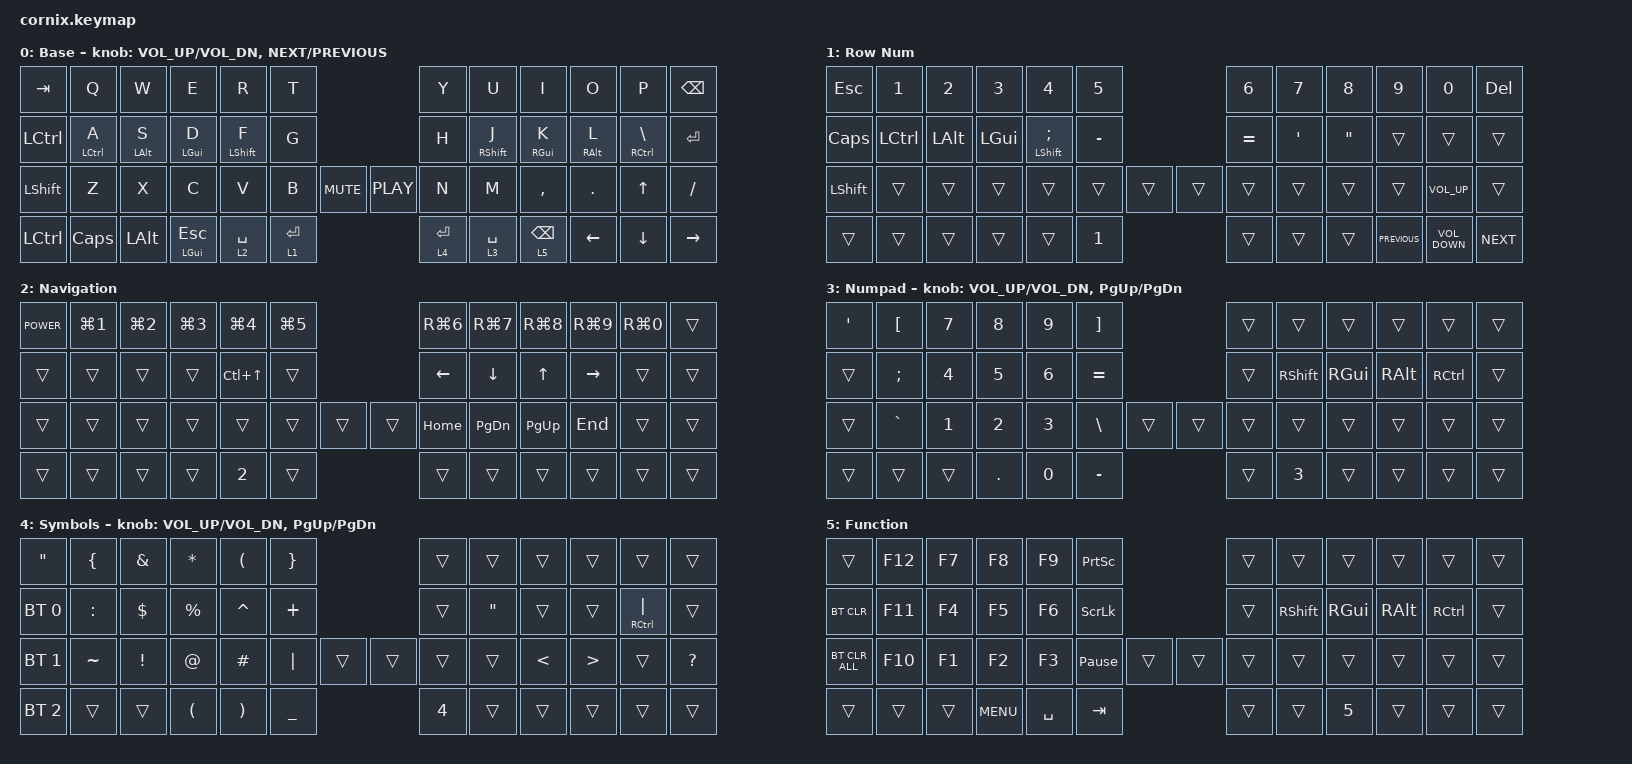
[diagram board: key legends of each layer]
/*
 * Copyright (c) 2020 The ZMK Contributors
 *
 * SPDX-License-Identifier: MIT
 */

#include "zmk-helpers/helper.h"
#include "includes/cornix54.h"

#define BASE 0
#define WIN 1
#define LOWER 2
#define RAISE 3
#define ADJUST 4
#define NAVI   5
#define NUM    6
#define DEBUG  7
#define ZMK_POINTING_DEFAULT_SCRL_VAL 15

#include <behaviors.dtsi>
#include <dt-bindings/zmk/bt.h>
#include <dt-bindings/zmk/keys.h>

/ {
    // Activate ADJUST layer by pressing raise and lower

    behaviors {
        hm: homerow_mods {
            compatible = "zmk,behavior-hold-tap";
            #binding-cells = <2>;
            tapping-term-ms = <200>;
            bindings = <&kp>, <&kp>;

            quick-tap-ms = <160>;
            flavor = "tap-preferred";
            require-prior-idle-ms = <150>;
        };

        lt: layer_tap {
            compatible = "zmk,behavior-hold-tap";
            #binding-cells = <2>;
            bindings = <&mo>, <&kp>;

            flavor = "hold-preferred";
            tapping-term-ms = <250>;
            quick-tap-ms = <200>;
        };

        right_space: right_space {
            compatible = "zmk,behavior-hold-tap";
            #binding-cells = <2>;
            bindings = <&mo>, <&kp>;

            flavor = "tap-preferred";
            tapping-term-ms = <200>;
            quick-tap-ms = <175>;
            label = "RIGHT_SPACE";
        };

        left_gui: left_gui {
            compatible = "zmk,behavior-hold-tap";
            #binding-cells = <2>;
            bindings = <&kp>, <&kp>;

            flavor = "hold-preferred";
            tapping-term-ms = <200>;
            quick-tap-ms = <200>;
            label = "LEFT_GUI";
            hold-trigger-on-release;
        };
    };

    conditional_layers { compatible = "zmk,conditional-layers"; };

    combos {
        compatible = "zmk,combos";

        leftpair {
            bindings = <&kp LEFT_PARENTHESIS>;
            key-positions = <3 4>;
            layers = <0>;
            require-prior-idle-ms = <250>;
            timeout-ms = <40>;
        };

        rightpair {
            bindings = <&kp RIGHT_PARENTHESIS>;
            key-positions = <7 8>;
            layers = <0>;
            require-prior-idle-ms = <250>;
            timeout-ms = <40>;
        };

        leftbracket {
            bindings = <&kp LEFT_BRACKET>;
            key-positions = <16 15>;
            layers = <0>;
            require-prior-idle-ms = <150>;
            timeout-ms = <40>;
        };

        rightbracket {
            bindings = <&kp RIGHT_BRACKET>;
            key-positions = <19 20>;
            layers = <0>;
            require-prior-idle-ms = <150>;
            timeout-ms = <40>;
        };

        leftbrace {
            bindings = <&kp LEFT_BRACE>;
            key-positions = <27 28>;
            layers = <0>;
            require-prior-idle-ms = <150>;
            timeout-ms = <40>;
        };

        rightbrace {
            bindings = <&kp RIGHT_BRACE>;
            key-positions = <33 34>;
            layers = <0>;
            require-prior-idle-ms = <150>;
            timeout-ms = <40>;
        };

        backslash {
            bindings = <&kp BACKSLASH>;
            key-positions = <5 6>;
            layers = <0>;
            require-prior-idle-ms = <150>;
            timeout-ms = <40>;
        };

        colon {
            bindings = <&kp COLON>;
            key-positions = <17 18>;
            layers = <0>;
            require-prior-idle-ms = <150>;
            timeout-ms = <40>;
        };

        slash {
            bindings = <&kp SLASH>;
            key-positions = <29 32>;
            layers = <0>;
            require-prior-idle-ms = <150>;
            timeout-ms = <40>;
        };

        doublequote {
            bindings = <&kp DOUBLE_QUOTES>;
            key-positions = <5 4>;
            layers = <0>;
            require-prior-idle-ms = <150>;
            timeout-ms = <40>;
        };

        quote {
            bindings = <&kp SQT>;
            key-positions = <6 7>;
            layers = <0>;
            require-prior-idle-ms = <150>;
            timeout-ms = <40>;
        };
    };

    keymap {
        compatible = "zmk,keymap";

        default_layer {
            display-name = "Base";

            // ------------------------------------------------------------------------------------------------------------
            // |   `   |  1  |  2  |  3   |  4   |  5   |                   |  6   |  7    |  8    |  9   |   0   |       |
            // |  ESC  |  Q  |  W  |  E   |  R   |  T   |                   |  Y   |  U    |  I    |  O   |   P   | BKSPC |
            // |  TAB  |  A  |  S  |  D   |  F   |  G   |                   |  H   |  J    |  K    |  L   |   ;   |   '   |
            // | SHIFT |  Z  |  X  |  C   |  V   |  B   |  MUTE  |  |       |  N   |  M    |  ,    |  .   |   /   | SHIFT |
            //               | GUI | ALT  | CTRL | LOWER|  ENTER |  | SPACE | RAISE| CTRL  | ALT   | GUI  |

            bindings = <
&kp TAB           &kp Q        &kp W         &kp E                      &kp R        &kp T                                &kp Y        &kp U                 &kp I            &kp O       &kp P                &kp BACKSPACE
&kp LEFT_CONTROL  &hm LCTRL A  &hm LALT S    &hm LGUI D                 &hm LSHFT F  &kp G                                &kp H        &hm RSHFT J           &hm RGUI K       &hm RALT L  &hm RCTRL BACKSLASH  &kp ENTER
&kp LEFT_SHIFT    &kp Z        &kp X         &kp C                      &kp V        &kp B        &kp C_MUTE  &kp C_PLAY  &kp N        &kp M                 &kp COMMA        &kp DOT     &kp UP_ARROW         &kp SLASH
&kp LEFT_CONTROL  &kp CAPS     &kp LEFT_ALT  &left_gui LEFT_GUI ESCAPE  &lt 2 SPACE  &lt 1 ENTER                          &lt 4 ENTER  &right_space 3 SPACE  &lt 5 BACKSPACE  &kp LEFT    &kp DOWN_ARROW       &kp RIGHT
            >;

            sensor-bindings =
                <&inc_dec_kp C_VOL_UP C_VOL_DN>,
                <&inc_dec_kp C_NEXT C_PREVIOUS>;
        };

        Row_Num_layer {
            display-name = "Row Num";
            bindings = <
&kp ESC         &kp NUMBER_1      &kp NUMBER_2  &kp NUMBER_3  &kp NUMBER_4              &kp N5                        &kp NUMBER_6  &kp N7   &kp N8             &kp N9          &kp N0             &kp DEL
&kp CAPS        &kp LEFT_CONTROL  &kp LEFT_ALT  &kp LEFT_GUI  &mt LEFT_SHIFT SEMICOLON  &kp MINUS                     &kp EQUAL     &kp SQT  &kp DOUBLE_QUOTES  &trans          &trans             &trans
&kp LEFT_SHIFT  &trans            &trans        &trans        &trans                    &trans        &trans  &trans  &trans        &trans   &trans             &trans          &kp C_VOLUME_UP    &trans
&trans          &trans            &trans        &trans        &trans                    &kp NUMBER_1                  &trans        &trans   &trans             &kp C_PREVIOUS  &kp C_VOLUME_DOWN  &kp C_NEXT
            >;
        };

        Navi_layer {
            display-name = "Navigation";
            bindings = <
&kp C_POWER  &kp LG(NUMBER_1)  &kp LG(NUMBER_2)  &kp LG(NUMBER_3)  &kp LG(NUMBER_4)  &kp LG(N5)                  &kp RG(NUMBER_6)  &kp RG(N7)     &kp RG(N8)   &kp RG(N9)  &kp RG(N0)  &trans
&trans       &trans            &trans            &trans            &kp LC(UP_ARROW)  &trans                      &kp LEFT          &kp DOWN       &kp UP       &kp RIGHT   &trans      &trans
&trans       &trans            &trans            &trans            &trans            &trans      &trans  &trans  &kp HOME          &kp PAGE_DOWN  &kp PAGE_UP  &kp END     &trans      &trans
&trans       &trans            &trans            &trans            &kp NUMBER_2      &trans                      &trans            &trans         &trans       &trans      &trans      &trans
            >;
        };

        Numpad_layer {
            display-name = "Numpad";

            // ------------------------------------------------------------------------------------------------------------
            // | BTCLR | BT1  | BT2  |  BT3  |  BT4  |  BT5 |                |      |      |       |      |       |       |
            // |       | INS  | PSCR | GUI   |       |      |                | PGUP |      |   ^   |      |       |       |
            // |       | ALT  | CTRL | SHIFT |       | CAPS |                | PGDN |   <- |   v   |  ->  |  DEL  | BKSPC |
            // |       | UNDO | CUT  | COPY  | PASTE |      |      |  |      |      |      |       |      |       |       |
            //                |      |       |       |      |      |  |      |      |      |       |      |

            bindings = <
&kp SINGLE_QUOTE  &kp LEFT_BRACKET  &kp NUMBER_7  &kp N8        &kp NUMBER_9  &kp RIGHT_BRACKET                  &trans  &trans           &trans         &trans         &trans             &trans
&trans            &kp SEMICOLON     &kp N4        &kp NUMBER_5  &kp NUMBER_6  &kp EQUAL                          &trans  &kp RIGHT_SHIFT  &kp RIGHT_GUI  &kp RIGHT_ALT  &kp RIGHT_CONTROL  &trans
&trans            &kp GRAVE         &kp NUMBER_1  &kp NUMBER_2  &kp NUMBER_3  &kp BACKSLASH      &trans  &trans  &trans  &trans           &trans         &trans         &trans             &trans
&trans            &trans            &trans        &kp PERIOD    &kp NUMBER_0  &kp MINUS                          &trans  &kp NUMBER_3     &trans         &trans         &trans             &trans
            >;

            sensor-bindings = <&inc_dec_kp C_VOL_UP C_VOL_DN &inc_dec_kp PG_UP PG_DN>;
        };

        Symbol_layer {
            display-name = "Symbols";

            // TODO: Some binds are waiting for shifted keycode support.
            // -------------------------------
            // |       |  F1 |  F2 |  F3  |  F4  |  F5  |                   |  F6  |  F7   |  F8   |  F9  |  F10  |  F11  |
            // |   `   |  1  |  2  |  3   |  4   |  5   |                   |  6   |  7    |  8    |  9   |   0   |  F12  |
            // |       |  !  |  @  |  #   |  $   |  %   |                   |  ^   |  &    |  *    |  (   |   )   |   |   |
            // |       |  =  |  -  |  +   |  {   |  }   |        |  |       |  [   |  ]    |  ;    |  :   |   \   |       |
            //               |     |      |      |      |        |  |       |      |       |       |      |

            bindings = <
&kp DOUBLE_QUOTES  &kp LEFT_BRACE  &kp AMPERSAND    &kp ASTERISK          &kp LEFT_PARENTHESIS   &kp RIGHT_BRACE                  &trans        &trans             &trans         &trans            &trans                  &trans
&bt BT_SEL 0       &kp COLON       &kp DOLLAR       &kp PERCENT           &kp CARET              &kp PLUS                         &trans        &kp DOUBLE_QUOTES  &trans         &trans            &mt RIGHT_CONTROL PIPE  &trans
&bt BT_SEL 1       &kp TILDE       &kp EXCLAMATION  &kp AT_SIGN           &kp HASH               &kp PIPE         &trans  &trans  &trans        &trans             &kp LESS_THAN  &kp GREATER_THAN  &trans                  &kp QUESTION
&bt BT_SEL 2       &trans          &trans           &kp LEFT_PARENTHESIS  &kp RIGHT_PARENTHESIS  &kp UNDERSCORE                   &kp NUMBER_4  &trans             &trans         &trans            &trans                  &trans
            >;

            sensor-bindings = <&inc_dec_kp C_VOL_UP C_VOL_DN &inc_dec_kp PG_UP PG_DN>;
        };

        Function_layer {
            display-name = "Function";

            // ----------------------------------------------------------------------------------------------------------------------------
            // | BTCLR  |  BT1    |  BT2    |   BT3   |   BT4   |   BT5   |                  |      |      |       |      |       |       |
            // | moDEBUG| RGB_HUD | RGB_HUI | RGB_SAD | RGB_SAI | RGB_EFF |                  |      |      |       |      |       |       |
            // | EXTPWR | RGB_BRD | RGB_BRI |         |         |         |                  |      |      |       |      |       |       |
            // |        |         |         |         |         |         | RGB_TOG | |      |      |      |       |      |       |       |
            //                    |         |         |         |         |         | |      |      |      |       |      |

            bindings = <
&trans          &kp F12  &kp F7  &kp F8      &kp F9     &kp PRINTSCREEN                  &trans  &trans           &trans         &trans         &trans             &trans
&bt BT_CLR      &kp F11  &kp F4  &kp F5      &kp F6     &kp SCROLLLOCK                   &trans  &kp RIGHT_SHIFT  &kp RIGHT_GUI  &kp RIGHT_ALT  &kp RIGHT_CONTROL  &trans
&bt BT_CLR_ALL  &kp F10  &kp F1  &kp F2      &kp F3     &kp PAUSE_BREAK  &trans  &trans  &trans  &trans           &trans         &trans         &trans             &trans
&trans          &trans   &trans  &kp C_MENU  &kp SPACE  &kp TAB                          &trans  &trans           &kp NUMBER_5   &trans         &trans             &trans
            >;
        };
    };
};
